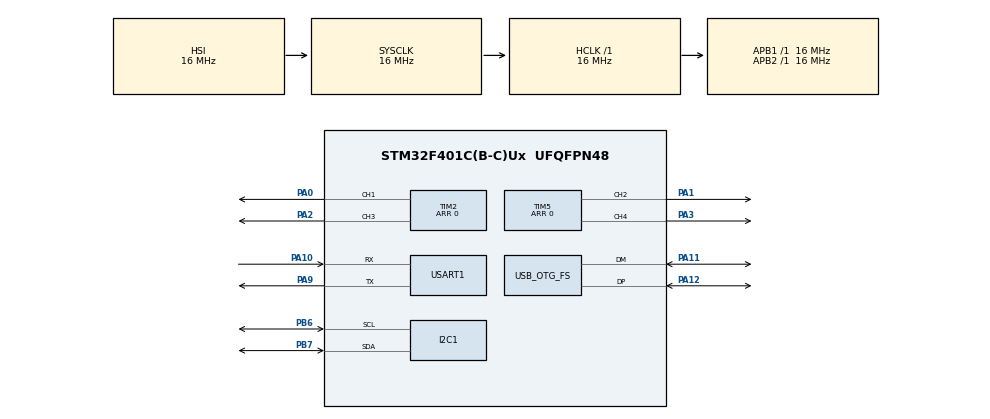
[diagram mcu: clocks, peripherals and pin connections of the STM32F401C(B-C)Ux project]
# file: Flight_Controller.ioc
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Dma.Request0=TIM2_CH1
Dma.Request1=TIM2_CH3/UP
Dma.Request2=TIM5_CH2
Dma.Request3=TIM5_CH4/TRIG
Dma.TIM2_CH1.0.Direction=DMA_MEMORY_TO_PERIPH
Dma.TIM2_CH1.0.FIFOMode=DMA_FIFOMODE_DISABLE
Dma.TIM2_CH1.0.Instance=DMA1_Stream5
Dma.TIM2_CH1.0.MemDataAlignment=DMA_MDATAALIGN_WORD
Dma.TIM2_CH1.0.MemInc=DMA_MINC_ENABLE
Dma.TIM2_CH1.0.Mode=DMA_NORMAL
Dma.TIM2_CH1.0.PeriphDataAlignment=DMA_PDATAALIGN_WORD
Dma.TIM2_CH1.0.PeriphInc=DMA_PINC_DISABLE
Dma.TIM2_CH1.0.Priority=DMA_PRIORITY_HIGH
Dma.TIM2_CH3/UP.1.Direction=DMA_MEMORY_TO_PERIPH
Dma.TIM2_CH3/UP.1.FIFOMode=DMA_FIFOMODE_DISABLE
Dma.TIM2_CH3/UP.1.Instance=DMA1_Stream1
Dma.TIM2_CH3/UP.1.MemDataAlignment=DMA_MDATAALIGN_WORD
Dma.TIM2_CH3/UP.1.MemInc=DMA_MINC_ENABLE
Dma.TIM2_CH3/UP.1.Mode=DMA_NORMAL
Dma.TIM2_CH3/UP.1.PeriphDataAlignment=DMA_PDATAALIGN_WORD
Dma.TIM2_CH3/UP.1.PeriphInc=DMA_PINC_DISABLE
Dma.TIM2_CH3/UP.1.Priority=DMA_PRIORITY_HIGH
Dma.TIM5_CH2.2.Direction=DMA_MEMORY_TO_PERIPH
Dma.TIM5_CH2.2.FIFOMode=DMA_FIFOMODE_DISABLE
Dma.TIM5_CH2.2.Instance=DMA1_Stream4
Dma.TIM5_CH2.2.MemDataAlignment=DMA_MDATAALIGN_WORD
Dma.TIM5_CH2.2.MemInc=DMA_MINC_ENABLE
Dma.TIM5_CH2.2.Mode=DMA_NORMAL
Dma.TIM5_CH2.2.PeriphDataAlignment=DMA_PDATAALIGN_WORD
Dma.TIM5_CH2.2.PeriphInc=DMA_PINC_DISABLE
Dma.TIM5_CH2.2.Priority=DMA_PRIORITY_HIGH
Dma.TIM5_CH4/TRIG.3.Direction=DMA_MEMORY_TO_PERIPH
Dma.TIM5_CH4/TRIG.3.FIFOMode=DMA_FIFOMODE_ENABLE
Dma.TIM5_CH4/TRIG.3.FIFOThreshold=DMA_FIFO_THRESHOLD_1QUARTERFULL
Dma.TIM5_CH4/TRIG.3.Instance=DMA1_Stream3
Dma.TIM5_CH4/TRIG.3.MemBurst=DMA_MBURST_SINGLE
Dma.TIM5_CH4/TRIG.3.MemDataAlignment=DMA_MDATAALIGN_WORD
Dma.TIM5_CH4/TRIG.3.MemInc=DMA_MINC_ENABLE
Dma.TIM5_CH4/TRIG.3.Mode=DMA_NORMAL
Dma.TIM5_CH4/TRIG.3.PeriphBurst=DMA_PBURST_SINGLE
Dma.TIM5_CH4/TRIG.3.PeriphDataAlignment=DMA_PDATAALIGN_WORD
Dma.TIM5_CH4/TRIG.3.PeriphInc=DMA_PINC_DISABLE
Dma.TIM5_CH4/TRIG.3.Priority=DMA_PRIORITY_HIGH
Mcu.Family=STM32F4
Mcu.Name=STM32F401C(B-C)Ux
Mcu.Package=UFQFPN48
NVIC.DMA1_Stream1_IRQn=true\:0\:0\:false\:false\:true\:false\:true\:true
NVIC.DMA1_Stream3_IRQn=true\:0\:0\:false\:false\:true\:false\:true\:true
NVIC.DMA1_Stream4_IRQn=true\:0\:0\:false\:false\:true\:false\:true\:true
NVIC.DMA1_Stream5_IRQn=true\:0\:0\:false\:false\:true\:false\:true\:true
NVIC.OTG_FS_IRQn=true\:0\:0\:false\:false\:true\:false\:true\:true
NVIC.PriorityGroup=NVIC_PRIORITYGROUP_4
PA0-WKUP.Signal=S_TIM2_CH1_ETR
PA1.Signal=S_TIM5_CH2
PA10.Mode=Asynchronous
PA10.Signal=USART1_RX
PA11.Mode=Device_Only
PA11.Signal=USB_OTG_FS_DM
PA12.Mode=Device_Only
PA12.Signal=USB_OTG_FS_DP
PA2.Signal=S_TIM2_CH3
PA3.Signal=S_TIM5_CH4
PA9.Mode=Asynchronous
PA9.Signal=USART1_TX
PB6.Mode=I2C
PB6.Signal=I2C1_SCL
PB7.Mode=I2C
PB7.Signal=I2C1_SDA
ProjectManager.HeapSize=0x200
ProjectManager.StackSize=0x400
ProjectManager.TargetToolchain=STM32CubeIDE
RCC.AHBFreq_Value=16000000
RCC.APB1Freq_Value=16000000
RCC.APB2Freq_Value=16000000
RCC.CortexFreq_Value=16000000
RCC.HSE_VALUE=25000000
RCC.HSI_VALUE=16000000
RCC.LSE_VALUE=32768
RCC.PLLSource=RCC_PLLSOURCE_HSI
RCC.PLLSourceVirtualString=RCC_PLLSOURCE_HSI
RCC.SYSCLKFreq_VALUE=16000000
RCC.VCOOutputFreq_Value=192000000
SH.S_TIM2_CH1_ETR.0=TIM2_CH1,PWM Generation1 CH1
SH.S_TIM2_CH3.0=TIM2_CH3,PWM Generation3 CH3
SH.S_TIM5_CH2.0=TIM5_CH2,PWM Generation2 CH2
SH.S_TIM5_CH4.0=TIM5_CH4,PWM Generation4 CH4
TIM2.Channel-PWM\ Generation1\ CH1=TIM_CHANNEL_1
TIM2.Channel-PWM\ Generation3\ CH3=TIM_CHANNEL_3
TIM2.Period=0
TIM5.Channel-PWM\ Generation2\ CH2=TIM_CHANNEL_2
TIM5.Channel-PWM\ Generation4\ CH4=TIM_CHANNEL_4
TIM5.Period=0
USART1.VirtualMode=VM_ASYNC
USB_DEVICE.CLASS_NAME_FS=CDC
USB_DEVICE.VirtualMode=Cdc
USB_DEVICE.VirtualModeFS=Cdc_FS
USB_OTG_FS.VirtualMode=Device_Only
VP_USB_DEVICE_VS_USB_DEVICE_CDC_FS.Mode=CDC_FS
board=custom

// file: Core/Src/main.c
/* USER CODE BEGIN Header */
/**
  ******************************************************************************
  * @file           : main.c
  * @brief          : Main program body
  ******************************************************************************
  * @attention
  *
  * Copyright (c) 2024 STMicroelectronics.
  * All rights reserved.
  *
  * This software is licensed under terms that can be found in the LICENSE file
  * in the root directory of this software component.
  * If no LICENSE file comes with this software, it is provided AS-IS.
  *
  ******************************************************************************
  */
/* USER CODE END Header */
#include "main.h"
#include "dma.h"
#include "i2c.h"
#include "tim.h"
#include "usart.h"
#include "usb_device.h"
#include "gpio.h"

/* USER CODE BEGIN Includes */
#include "dshot.h"
#include "imu.h"
#include "ibus.h"
#include "usbd_cdc_if.h"
/* USER CODE END Includes */

/* USER CODE BEGIN PV */
uint8_t iBus_rx_buffer[IBUS_BUFFER_SIZE];
ibus_rx_t ibus_rx_struct = {0};
/* USER CODE END PV */

void SystemClock_Config(void);

int main(void)
{

  /* MCU Configuration--------------------------------------------------------*/

  /* Reset of all peripherals, Initializes the Flash interface and the Systick. */
  HAL_Init();

  /* USER CODE BEGIN Init */

  // up-to 2000 motor speed
  double motors[4] = {0, 0, 0, 0};

  /* USER CODE END Init */

  /* Configure the system clock */
  SystemClock_Config();

  /* Initialize all configured peripherals */
  MX_GPIO_Init();
  MX_DMA_Init();
  MX_TIM2_Init();
  MX_TIM5_Init();
  MX_I2C1_Init();
  MX_USB_DEVICE_Init();
  MX_USART1_UART_Init();
  /* USER CODE BEGIN 2 */

  // initialize mpu
  bool mpu_init = init_mpu6050();

  gyro drone_gyro = {0,0,0};
  accel drone_accel = {0,0,0};

  mpu drone_mpu = {
	  &drone_gyro,
	  &drone_accel
  };

  // initialize dshot protocol for communication with esc's
  dshot_init(DSHOT300);

  // initialize ibus count
  uint8_t ibus_rx_count = 0;

  /* USER CODE END 2 */

  /* Infinite loop */
  while (1)
  {

    /* USER CODE BEGIN 3 */
	if(mpu_init) { // check if mpu has initialized correctly
		CDC_Transmit_FS((uint8_t*)"Current Position:\n\r", strlen("Current Position:\n\r"));

		// read positional data from mpu
		read_mpu6050(&drone_mpu);

		// read desired position data from Rx receiver every 100 cycles
		if(ibus_rx_count == 100) {
				if(HAL_UART_Receive(&huart1, iBus_rx_buffer, IBUS_BUFFER_SIZE, 1000) == HAL_OK) {
						// Check if the received data is a valid iBus packet
						if (iBus_rx_buffer[1] == 0x20) {
							// Process iBus packet
							process_iBus_data(iBus_rx_buffer, &ibus_rx_struct);
						}
				}
				// reset count
				ibus_rx_count = 0;
		} else {ibus_rx_count++;}

		/* PID Controls */

		// testing spinning motor
		char test_motor_buffer[50];
		sprintf(test_motor_buffer, "Motor 0 Speed: %.02f\n\r", ibus_rx_struct.ch3);
		motors[0] = ibus_rx_struct.ch3;
		dshot_tx(motors);
		CDC_Transmit_FS((uint8_t*)test_motor_buffer, strlen(test_motor_buffer));

	  } else {
		  CDC_Transmit_FS((uint8_t*)"Failed to initialize MPU, retrying...\n\r", strlen("Failed to initialize MPU\n\r"));
		  mpu_init = init_mpu6050();
	  }
    /* USER CODE BEGIN 3 */
  }
  /* USER CODE END 3 */
}

void SystemClock_Config(void)
{
  RCC_OscInitTypeDef RCC_OscInitStruct = {0};
  RCC_ClkInitTypeDef RCC_ClkInitStruct = {0};

  /** Configure the main internal regulator output voltage
  */
  __HAL_RCC_PWR_CLK_ENABLE();
  __HAL_PWR_VOLTAGESCALING_CONFIG(PWR_REGULATOR_VOLTAGE_SCALE2);

  /** Initializes the RCC Oscillators according to the specified parameters
  * in the RCC_OscInitTypeDef structure.
  */
  RCC_OscInitStruct.OscillatorType = RCC_OSCILLATORTYPE_HSI;
  RCC_OscInitStruct.HSIState = RCC_HSI_ON;
  RCC_OscInitStruct.HSICalibrationValue = RCC_HSICALIBRATION_DEFAULT;
  RCC_OscInitStruct.PLL.PLLState = RCC_PLL_ON;
  RCC_OscInitStruct.PLL.PLLSource = RCC_PLLSOURCE_HSI;
  RCC_OscInitStruct.PLL.PLLM = 16;
  RCC_OscInitStruct.PLL.PLLN = 192;
  RCC_OscInitStruct.PLL.PLLP = RCC_PLLP_DIV2;
  RCC_OscInitStruct.PLL.PLLQ = 4;
  if (HAL_RCC_OscConfig(&RCC_OscInitStruct) != HAL_OK)
  {
    Error_Handler();
  }

  /** Initializes the CPU, AHB and APB buses clocks
  */
  RCC_ClkInitStruct.ClockType = RCC_CLOCKTYPE_HCLK|RCC_CLOCKTYPE_SYSCLK
                              |RCC_CLOCKTYPE_PCLK1|RCC_CLOCKTYPE_PCLK2;
  RCC_ClkInitStruct.SYSCLKSource = RCC_SYSCLKSOURCE_HSI;
  RCC_ClkInitStruct.AHBCLKDivider = RCC_SYSCLK_DIV1;
  RCC_ClkInitStruct.APB1CLKDivider = RCC_HCLK_DIV1;
  RCC_ClkInitStruct.APB2CLKDivider = RCC_HCLK_DIV1;

  if (HAL_RCC_ClockConfig(&RCC_ClkInitStruct, FLASH_LATENCY_0) != HAL_OK)
  {
    Error_Handler();
  }
}

void Error_Handler(void)
{
  __disable_irq();
  while (1)
  {
  }
}
